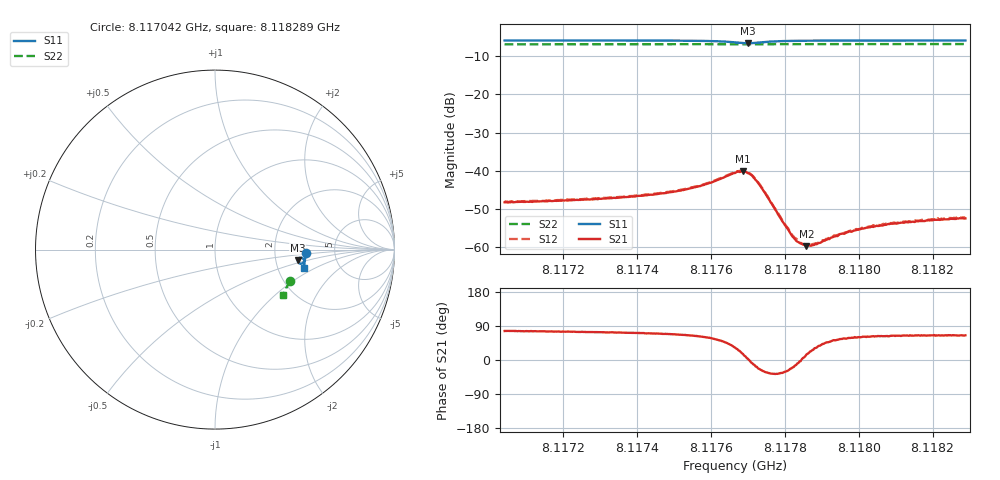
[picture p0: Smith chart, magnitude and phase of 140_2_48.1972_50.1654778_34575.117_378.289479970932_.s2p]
#  HZ  S  RI  R  50.00
! Rohde & Schwarz Vector Network Analyzer
! Rohde-Schwarz,ZNB20-2Port,1311601062101988,3.16
! Created: UTC 3/20/2024, 11:42:16 AM
! freq[Hz]  re:S11  im:S11  re:S21  im:S21  re:S12  im:S12  re:S22  im:S22
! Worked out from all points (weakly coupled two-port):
!   401 points, 8.117042 GHz to 8.118289 GHz, reference 50 ohm
!   highest |S21| = -40.04 dB at 8.117687 GHz (marker M1); lowest = -59.7 dB at 8.117859 GHz (marker M2)
!   lowest |S11| = -6.7 dB at 8.1177 GHz (marker M3), VSWR 2.74, Z = 133 - j20.4 ohm
!   |S11| at or under -10 dB: nowhere
!   |S22| runs from -6.9 to -6.8 dB; largest |S21 - S12| = 0.00038
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8.1170418e9  0.5057 -0.0204  0.000906 0.00378  0.000927 0.00384  0.4166 -0.1723
8.1172507e9  0.5043 -0.0373  0.00114 0.00406  0.00119 0.0041  0.4113 -0.1859
8.1173473e9  0.503 -0.0455  0.00134 0.00425  0.00145 0.00432  0.4086 -0.1922
8.1174596e9  0.5009 -0.0562  0.00176 0.0047  0.00183 0.00475  0.4056 -0.1995
8.1175126e9  0.499 -0.0618  0.00213 0.00506  0.00221 0.00513  0.404 -0.2029
8.1175687e9  0.4956 -0.0691  0.00294 0.00559  0.00302 0.00566  0.4022 -0.2066
8.1176061e9  0.4905 -0.0744  0.004 0.006  0.00412 0.00606  0.4008 -0.2088
8.1176653e9  0.4714 -0.0775  0.00789 0.00507  0.00815 0.00517  0.3983 -0.2125
8.1176872e9  0.4623 -0.0686  0.00958 0.00269  0.00971 0.00251  0.3974 -0.213
8.1176996e9  0.461 -0.06  0.00931 0.000557  0.00961 0.000416  0.397 -0.2136
8.1177121e9  0.4642 -0.0519  0.00854 -0.00131  0.0086 -0.00142  0.3968 -0.2139
8.1177308e9  0.4737 -0.0453  0.00609 -0.00265  0.00621 -0.00277  0.3969 -0.215
8.1177963e9  0.4941 -0.0542  0.00176 -0.00113  0.00179 -0.00115  0.3957 -0.2195
8.1178243e9  0.4965 -0.0591  0.00127 -0.000419  0.00131 -0.000462  0.3949 -0.2213
8.1178368e9  0.4973 -0.0612  0.00116 -0.000161  0.00119 -0.000194  0.3946 -0.2222
8.1178586e9  0.4979 -0.0645  0.001 0.000258  0.00102 0.000256  0.3939 -0.2236
8.1178742e9  0.4982 -0.0665  0.000963 0.000462  0.001 0.00042  0.3934 -0.2247
8.1179709e9  0.4983 -0.0774  0.00084 0.00134  0.000892 0.00134  0.3902 -0.2308
8.1180145e9  0.4978 -0.0817  0.00085 0.00155  0.000922 0.00158  0.3888 -0.2336
8.1180831e9  0.4971 -0.0879  0.000917 0.00179  0.000937 0.0018  0.3865 -0.2379
8.1181766e9  0.4959 -0.0958  0.000933 0.00201  0.000984 0.00207  0.3832 -0.2435
8.1182889e9  0.494 -0.1046  0.00101 0.00217  0.00105 0.00223  0.3793 -0.2503
